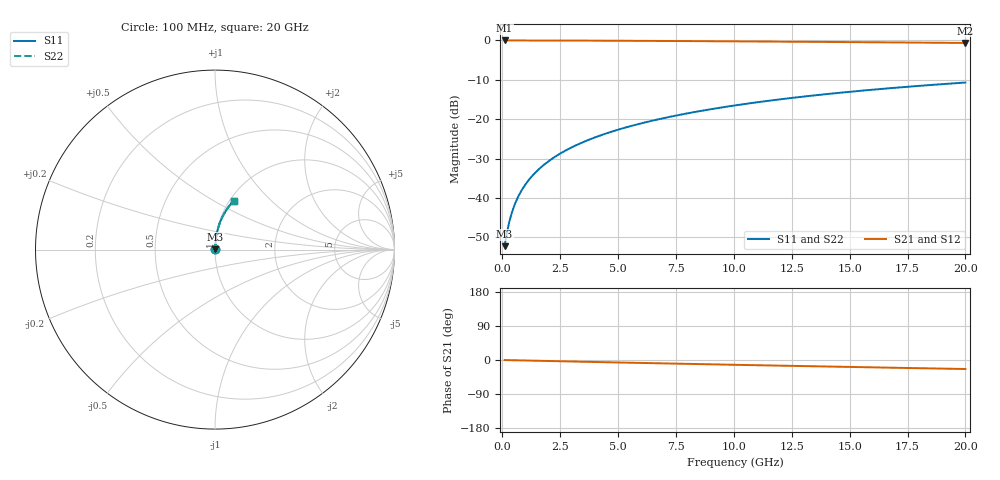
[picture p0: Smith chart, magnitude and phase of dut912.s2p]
! Touchstone file exported from HFSS 2024.1.0
!  File:  C:/UserFiles/LocalFiles/RDL_TSV_Batchsim/temp_RDL_top_912_1779936202.aedt
!  Generated:  10:46:16 AM May 28, 2026
!  Design:  RDL_top
!  Project:  temp_RDL_top_912_1779936202
!  Setup:  Setup1
!  Solution:  Sweep
! Variables:
!  dtsv = 10.80580581um
!  hbump = 3um
!  htsv = 92.3um
!  ldown = 100um
!  lrdl = 263.97um
!  p = 40
!  p1 = 54.61um
!  rhole = 1um
!  t = 450um
!  tdown = 3.915915916um
!  trdl = 3.45um
!  wdown = 15.38538539um
!  wrdl = 15.54um
# GHz S MA R 50.000000
! Terminal data exported
! Port[1] = Box2_T1
! Port[2] = Box2_T2
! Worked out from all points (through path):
!   200 points, 100 MHz to 20 GHz, reference 50 ohm
!   highest |S21| = -0.02 dB at 100 MHz (marker M1); lowest = -0.6 dB at 20 GHz (marker M2)
!   group delay of S21, straight-line fit = 3.29 ps
!   lowest |S11| = -52.2 dB at 100 MHz (marker M3), VSWR 1.00, Z = 50.2 + j0.153 ohm
!   |S11| at or under -10 dB: start of sweep to end of sweep
!   |S22| runs from -52.2 to -10.7 dB; largest |S21 - S12| = 4.9e-15
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0.1  0.002445 38.5  0.9981 -0.1  0.9981 -0.1  0.002445 38.5
! Gamma 0 0 0 0
! Port Impedance 50 0 50 0
0.2  0.003606 57.1  0.998 -0.3  0.998 -0.3  0.003606 57.1
0.3  0.004944 66.0  0.998 -0.4  0.998 -0.4  0.004944 66.0
0.4  0.006332 70.9  0.9979 -0.5  0.9979 -0.5  0.006332 70.9
0.5  0.007737 74.0  0.9978 -0.7  0.9978 -0.7  0.007737 74.0
0.6  0.00915 76.2  0.9978 -0.8  0.9978 -0.8  0.00915 76.2
0.8  0.01199 79.0  0.9976 -1.1  0.9976 -1.1  0.01199 79.0
1.1  0.01629 81.4  0.9974 -1.5  0.9974 -1.5  0.01629 81.4
1.5  0.02205 83.1  0.997 -2.0  0.997 -2.0  0.02205 83.1
1.8  0.0264 83.8  0.9966 -2.4  0.9966 -2.4  0.0264 83.8
2.1  0.03076 84.3  0.9962 -2.8  0.9962 -2.8  0.03076 84.3
2.7  0.03952 84.7  0.9953 -3.6  0.9953 -3.6  0.03952 84.7
3.5  0.05128 84.8  0.9937 -4.6  0.9937 -4.6  0.05128 84.8
4.2  0.06164 84.6  0.9921 -5.5  0.9921 -5.5  0.06164 84.6
5  0.07355 84.3  0.99 -6.5  0.99 -6.5  0.07355 84.3
5.9  0.08702 83.7  0.9873 -7.7  0.9873 -7.7  0.08702 83.7
6.8  0.1006 83.0  0.9844 -8.8  0.9844 -8.8  0.1006 83.0
8.3  0.1232 81.6  0.9791 -10.6  0.9791 -10.6  0.1232 81.6
10.1  0.1503 79.9  0.9723 -12.7  0.9723 -12.7  0.1503 79.8
13.4  0.1994 76.3  0.9586 -16.5  0.9586 -16.5  0.1993 76.3
16.7  0.2467 72.6  0.9439 -20.2  0.9439 -20.2  0.2467 72.6
20  0.2918 69.0  0.928 -23.8  0.928 -23.8  0.2918 69.0
